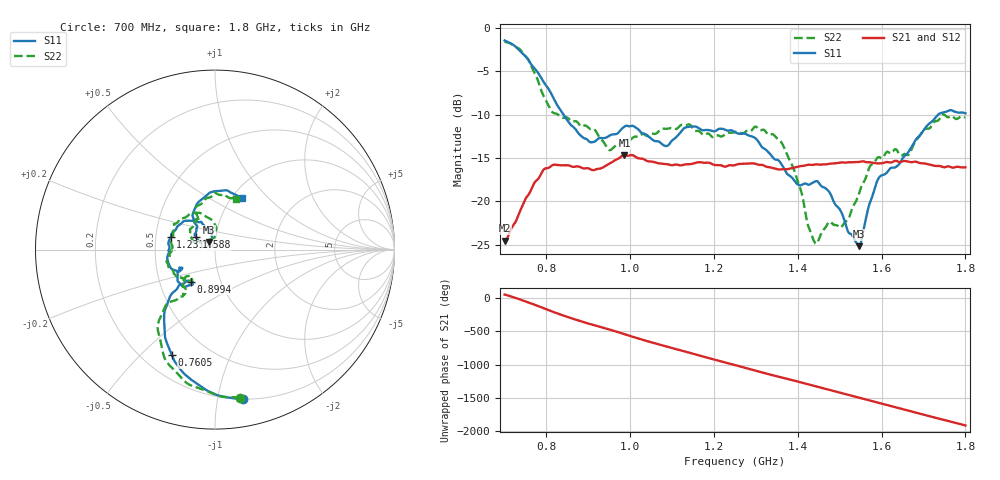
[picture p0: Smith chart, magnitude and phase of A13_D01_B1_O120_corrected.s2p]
! Created with skrf 1.9.0 (http://scikit-rf.org).
# Hz S RI R 50.0
!freq ReS11 ImS11 ReS21 ImS21 ReS12 ImS12 ReS22 ImS22
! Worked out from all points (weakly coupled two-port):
!   1601 points, 700 MHz to 1.8 GHz, reference 50 ohm
!   highest |S21| = -14.64 dB at 986 MHz (marker M1); lowest = -24.5 dB at 700.7 MHz (marker M2)
!   lowest |S11| = -25.2 dB at 1.546 GHz (marker M3), VSWR 1.12, Z = 46.5 + j4.01 ohm
!   |S11| at or under -10 dB: 840.7 MHz to 1.734 GHz (893.8 MHz wide, 69.4 % of centre)
!   |S22| runs from -24.9 to -1.6 dB; largest |S21 - S12| = 0.0037
!   S11 on the Smith chart (normalised r, x): 700 MHz: 0.20, -1.19; 760.5 MHz: 0.32, -0.62; 899.4 MHz: 0.72, -0.27; 1.231 GHz: 0.60, +0.09; 1.588 GHz: 0.80, +0.11; 1.8 GHz: 1.12, +0.71
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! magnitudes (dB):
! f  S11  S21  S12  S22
! 700 MHz  -1.4  -24.5  -24.3  -1.6
! 700.7 MHz  -1.4  -24.5  -24.3  -1.6
! 760.5 MHz  -4.0  -19.0  -18.8  -4.0
! 812.8 MHz  -7.7  -15.9  -15.9  -9.6
! 883.6 MHz  -12.5  -16.1  -16.0  -11.4
! 899.4 MHz  -13.0  -16.2  -16.2  -11.5
! 950.2 MHz  -12.4  -15.6  -15.7  -14.1
! 986 MHz  -11.4  -14.6  -14.7  -12.9
! 1.067 GHz  -13.1  -15.6  -15.5  -11.9
! 1.139 GHz  -11.4  -15.7  -15.7  -11.1
! 1.231 GHz  -11.8  -15.9  -15.9  -12.1
! 1.25 GHz  -12.0  -15.8  -15.8  -12.0
! 1.36 GHz  -15.6  -16.3  -16.3  -13.1
! 1.394 GHz  -17.8  -16.1  -16.1  -16.9
! 1.434 GHz  -17.9  -15.8  -15.8  -24.0
! 1.505 GHz  -21.4  -15.5  -15.5  -22.9
! 1.546 GHz  -25.2  -15.5  -15.4  -19.1
! 1.588 GHz  -17.9  -15.6  -15.6  -15.1
! 1.617 GHz  -16.4  -15.5  -15.5  -14.4
! 1.664 GHz  -14.3  -15.4  -15.4  -14.6
! 1.736 GHz  -9.9  -15.9  -16.0  -10.6
! 1.8 GHz  -9.8  -16.1  -16.1  -10.3
